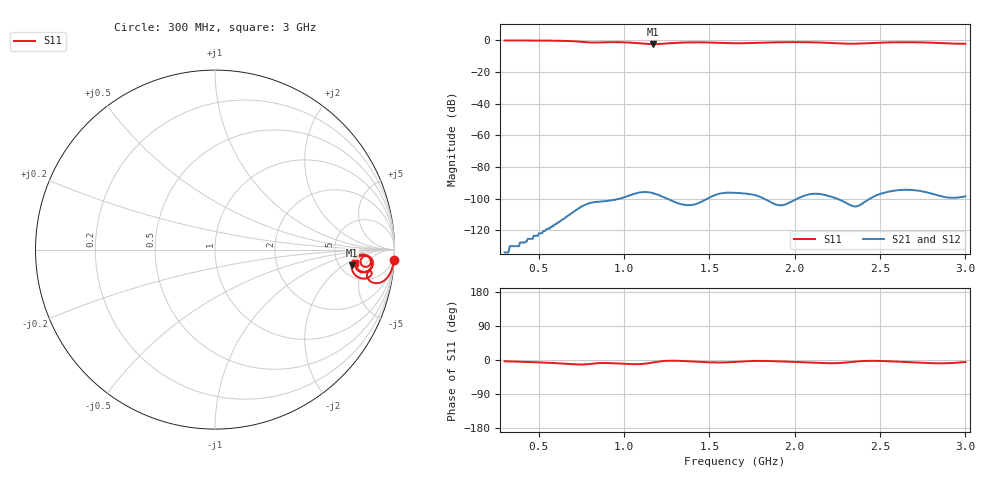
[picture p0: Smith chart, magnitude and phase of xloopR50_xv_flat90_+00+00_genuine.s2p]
! xloopR50_xv_flat90_+00+00_genuine, gap C 0.80 pF
! simulated by sim/fixtures_fdtd.py (S12 = S21, S22 not computed)
# HZ S RI R 50
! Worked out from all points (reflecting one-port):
!   541 points, 300 MHz to 3 GHz, reference 50 ohm
!   lowest |S11| = -2.3 dB at 1.17 GHz (marker M1), VSWR 7.55, Z = 320 - j134 ohm
!   phase of S11 starts at -3 deg and turns -2 deg over the sweep
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3e8  0.9966 -0.0577  -0 -2e-07  -0 -2e-07  0 0
6e8  0.9704 -0.142  -1.1e-06 -1.1e-06  -1.1e-06 -1.1e-06  0 0
7.5e8  0.8858 -0.1859  -5.5e-06 1.1e-06  -5.5e-06 1.1e-06  0 0
8.05e8  0.8486 -0.1542  -5.1e-06 5.4e-06  -5.1e-06 5.4e-06  0 0
8.7e8  0.8605 -0.1206  -1e-06 8.1e-06  -1e-06 8.1e-06  0 0
9.7e8  0.8688 -0.1438  5.6e-06 8.2e-06  5.6e-06 8.2e-06  0 0
1.07e9  0.812 -0.1592  1.48e-05 8e-07  1.48e-05 8e-07  0 0
1.17e9  0.7611 -0.0865  3.7e-06 -1.45e-05  3.7e-06 -1.45e-05  0 0
1.2e9  0.7697 -0.0585  -2e-06 -1.31e-05  -2e-06 -1.31e-05  0 0
1.28e9  0.8222 -0.0267  -7.7e-06 -3.8e-06  -7.7e-06 -3.8e-06  0 0
1.4e9  0.8675 -0.0586  -3.3e-06 5.5e-06  -3.3e-06 5.5e-06  0 0
1.54e9  0.8424 -0.0962  1.34e-05 2e-07  1.34e-05 2e-07  0 0
1.65e9  0.8108 -0.0711  1.8e-06 -1.52e-05  1.8e-06 -1.52e-05  0 0
1.815e9  0.8521 -0.0367  -1.02e-05 -1.6e-06  -1.02e-05 -1.6e-06  0 0
2.1e9  0.8659 -0.1099  -1.11e-05 8.7e-06  -1.11e-05 8.7e-06  0 0
2.22e9  0.8173 -0.1223  8e-07 1.12e-05  8e-07 1.12e-05  0 0
2.325e9  0.7831 -0.0758  2.4e-06 5.8e-06  2.4e-06 5.8e-06  0 0
2.43e9  0.8192 -0.0323  5e-07 9.3e-06  5e-07 9.3e-06  0 0
2.55e9  0.865 -0.0497  1.23e-05 1.13e-05  1.23e-05 1.13e-05  0 0
2.685e9  0.8716 -0.0948  1.79e-05 -5.9e-06  1.79e-05 -5.9e-06  0 0
2.825e9  0.8308 -0.1271  4.6e-06 -1.25e-05  4.6e-06 -1.25e-05  0 0
3e9  0.7826 -0.0725  1e-07 -1.19e-05  1e-07 -1.19e-05  0 0
